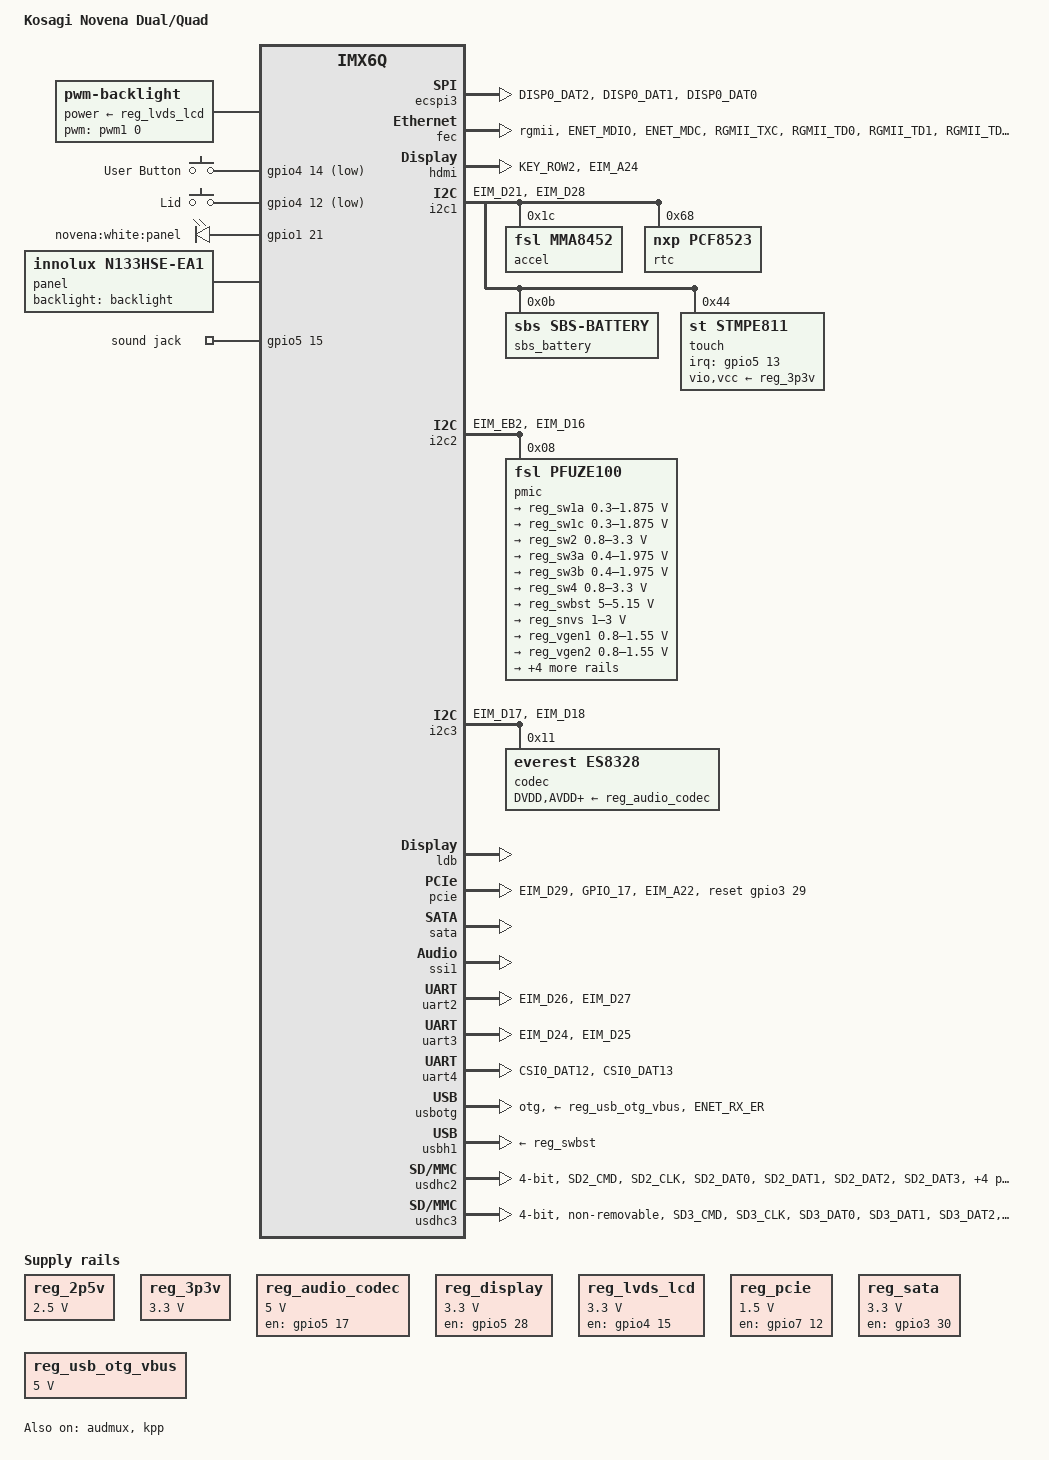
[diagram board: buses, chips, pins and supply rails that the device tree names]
/*
 * Copyright 2015 Sutajio Ko-Usagi PTE LTD
 *
 * This file is dual-licensed: you can use it either under the terms
 * of the GPL or the X11 license, at your option. Note that this dual
 * licensing only applies to this file, and not this project as a
 * whole.
 *
 *  a) This file is free software; you can redistribute it and/or
 *     modify it under the terms of the GNU General Public License as
 *     published by the Free Software Foundation; either version 2 of
 *     the License, or (at your option) any later version.
 *
 *     This file is distributed in the hope that it will be useful,
 *     but WITHOUT ANY WARRANTY; without even the implied warranty of
 *     MERCHANTABILITY or FITNESS FOR A PARTICULAR PURPOSE.  See the
 *     GNU General Public License for more details.
 *
 *     You should have received a copy of the GNU General Public
 *     License along with this file; if not, write to the Free
 *     Software Foundation, Inc., 51 Franklin St, Fifth Floor, Boston,
 *     MA 02110-1301 USA
 *
 * Or, alternatively,
 *
 *  b) Permission is hereby granted, free of charge, to any person
 *     obtaining a copy of this software and associated documentation
 *     files (the "Software"), to deal in the Software without
 *     restriction, including without limitation the rights to use,
 *     copy, modify, merge, publish, distribute, sublicense, and/or
 *     sell copies of the Software, and to permit persons to whom the
 *     Software is furnished to do so, subject to the following
 *     conditions:
 *
 *     The above copyright notice and this permission notice shall be
 *     included in all copies or substantial portions of the Software.
 *
 *     THE SOFTWARE IS PROVIDED "AS IS", WITHOUT WARRANTY OF ANY KIND,
 *     EXPRESS OR IMPLIED, INCLUDING BUT NOT LIMITED TO THE WARRANTIES
 *     OF MERCHANTABILITY, FITNESS FOR A PARTICULAR PURPOSE AND
 *     NONINFRINGEMENT. IN NO EVENT SHALL THE AUTHORS OR COPYRIGHT
 *     HOLDERS BE LIABLE FOR ANY CLAIM, DAMAGES OR OTHER LIABILITY,
 *     WHETHER IN AN ACTION OF CONTRACT, TORT OR OTHERWISE, ARISING
 *     FROM, OUT OF OR IN CONNECTION WITH THE SOFTWARE OR THE USE OR
 *     OTHER DEALINGS IN THE SOFTWARE.
 *
 */

/dts-v1/;
#include "imx6q.dtsi"
#include <dt-bindings/gpio/gpio.h>
#include <dt-bindings/input/input.h>

/ {
	model = "Kosagi Novena Dual/Quad";
	compatible = "kosagi,imx6q-novena", "fsl,imx6q";

	chosen {
		stdout-path = &uart2;
	};

	backlight: backlight {
		compatible = "pwm-backlight";
		pwms = <&pwm1 0 10000000>;
		pinctrl-names = "default";
		pinctrl-0 = <&pinctrl_backlight_novena>;
		power-supply = <&reg_lvds_lcd>;
		brightness-levels = <0 3 6 12 16 24 32 48 64 96 128 192 255>;
		default-brightness-level = <12>;
	};

	gpio-keys {
		compatible = "gpio-keys";
		pinctrl-names = "default";
		pinctrl-0 = <&pinctrl_gpio_keys_novena>;

		user-button {
			label = "User Button";
			gpios = <&gpio4 14 GPIO_ACTIVE_LOW>;
			linux,code = <KEY_POWER>;
		};

		lid {
			label = "Lid";
			gpios = <&gpio4 12 GPIO_ACTIVE_LOW>;
			linux,input-type = <5>;	/* EV_SW */
			linux,code = <0>;	/* SW_LID */
		};
	};

	leds {
		compatible = "gpio-leds";
		pinctrl-names = "default";
		pinctrl-0 = <&pinctrl_leds_novena>;

		heartbeat {
			label = "novena:white:panel";
			gpios = <&gpio1 21 GPIO_ACTIVE_HIGH>;
			linux,default-trigger = "default-on";
		};
	};

	panel: panel {
		compatible = "innolux,n133hse-ea1", "simple-panel";
		backlight = <&backlight>;
	};

	reg_2p5v: regulator-2p5v {
		compatible = "regulator-fixed";
		regulator-name = "2P5V";
		regulator-min-microvolt = <2500000>;
		regulator-max-microvolt = <2500000>;
		regulator-always-on;
	};

	reg_3p3v: regulator-3p3v {
		compatible = "regulator-fixed";
		regulator-name = "3P3V";
		regulator-min-microvolt = <3300000>;
		regulator-max-microvolt = <3300000>;
		regulator-always-on;
	};

	reg_audio_codec: regulator-audio-codec {
		compatible = "regulator-fixed";
		regulator-name = "es8328-power";
		regulator-boot-on;
		regulator-min-microvolt = <5000000>;
		regulator-max-microvolt = <5000000>;
		startup-delay-us = <400000>;
		gpio = <&gpio5 17 GPIO_ACTIVE_HIGH>;
		enable-active-high;
	};

	reg_display: regulator-display {
		compatible = "regulator-fixed";
		regulator-name = "lcd-display-power";
		regulator-min-microvolt = <3300000>;
		regulator-max-microvolt = <3300000>;
		startup-delay-us = <200000>;
		gpio = <&gpio5 28 GPIO_ACTIVE_HIGH>;
		enable-active-high;
	};

	reg_lvds_lcd: regulator-lvds-lcd {
		compatible = "regulator-fixed";
		regulator-name = "lcd-lvds-power";
		regulator-min-microvolt = <3300000>;
		regulator-max-microvolt = <3300000>;
		gpio = <&gpio4 15 GPIO_ACTIVE_HIGH>;
		enable-active-high;
	};

	reg_pcie: regulator-pcie {
		compatible = "regulator-fixed";
		regulator-name = "pcie-bus-power";
		regulator-min-microvolt = <1500000>;
		regulator-max-microvolt = <1500000>;
		gpio = <&gpio7 12 GPIO_ACTIVE_HIGH>;
		enable-active-high;
		regulator-always-on;
	};

	reg_sata: regulator-sata {
		compatible = "regulator-fixed";
		regulator-name = "sata-power";
		regulator-boot-on;
		regulator-min-microvolt = <3300000>;
		regulator-max-microvolt = <3300000>;
		startup-delay-us = <10000>;
		gpio = <&gpio3 30 GPIO_ACTIVE_HIGH>;
		enable-active-high;
	};

	reg_usb_otg_vbus: regulator-usb-otg-vbus {
		compatible = "regulator-fixed";
		regulator-name = "usb_otg_vbus";
		regulator-min-microvolt = <5000000>;
		regulator-max-microvolt = <5000000>;
		enable-active-high;
	};

	sound {
		compatible = "fsl,imx-audio-es8328";
		model = "imx-audio-es8328";
		ssi-controller = <&ssi1>;
		audio-codec = <&codec>;
		audio-amp-supply = <&reg_audio_codec>;
		jack-gpio = <&gpio5 15 GPIO_ACTIVE_HIGH>;
		audio-routing =
			"Speaker", "LOUT2",
			"Speaker", "ROUT2",
			"Speaker", "audio-amp",
			"Headphone", "ROUT1",
			"Headphone", "LOUT1",
			"LINPUT1", "Mic Jack",
			"RINPUT1", "Mic Jack",
			"Mic Jack", "Mic Bias";
		mux-int-port = <0x1>;
		mux-ext-port = <0x3>;
	};
};

&audmux {
	pinctrl-names = "default";
	pinctrl-0 = <&pinctrl_audmux_novena>;
	status = "okay";
};

&ecspi3 {
	pinctrl-names = "default";
	pinctrl-0 = <&pinctrl_ecspi3_novena>;
	fsl,spi-num-chipselects = <3>;
	status = "okay";
};

&fec {
	pinctrl-names = "default";
	pinctrl-0 = <&pinctrl_enet_novena>;
	phy-mode = "rgmii";
	phy-reset-gpios = <&gpio3 23 GPIO_ACTIVE_HIGH>;
	rxc-skew-ps = <3000>;
	rxdv-skew-ps = <0>;
	txc-skew-ps = <3000>;
	txen-skew-ps = <0>;
	rxd0-skew-ps = <0>;
	rxd1-skew-ps = <0>;
	rxd2-skew-ps = <0>;
	rxd3-skew-ps = <0>;
	txd0-skew-ps = <3000>;
	txd1-skew-ps = <3000>;
	txd2-skew-ps = <3000>;
	txd3-skew-ps = <3000>;
	status = "okay";
};

&hdmi {
	pinctrl-names = "default";
	pinctrl-0 = <&pinctrl_hdmi_novena>;
	ddc-i2c-bus = <&i2c2>;
	status = "okay";
};

&i2c1 {
	pinctrl-names = "default";
	pinctrl-0 = <&pinctrl_i2c1_novena>;
	status = "okay";

	accel: mma8452@1c {
		compatible = "fsl,mma8452";
		reg = <0x1c>;
	};

	rtc: pcf8523@68 {
		compatible = "nxp,pcf8523";
		reg = <0x68>;
	};

	sbs_battery: bq20z75@0b {
		compatible = "sbs,sbs-battery";
		reg = <0x0b>;
		sbs,i2c-retry-count = <50>;
	};

	touch: stmpe811@44 {
		compatible = "st,stmpe811";
		reg = <0x44>;
		#address-cells = <1>;
		#size-cells = <0>;
		irq-gpio = <&gpio5 13 GPIO_ACTIVE_HIGH>;
		id = <0>;
		blocks = <0x5>;
		irq-trigger = <0x1>;
		pinctrl-names = "default";
		pinctrl-0 = <&pinctrl_stmpe_novena>;
		vio-supply = <&reg_3p3v>;
		vcc-supply = <&reg_3p3v>;

		stmpe_touchscreen {
			compatible = "st,stmpe-ts";
			st,sample-time = <4>;
			st,mod-12b = <1>;
			st,ref-sel = <0>;
			st,adc-freq = <1>;
			st,ave-ctrl = <1>;
			st,touch-det-delay = <2>;
			st,settling = <2>;
			st,fraction-z = <7>;
			st,i-drive = <1>;
		};
	};
};

&i2c2 {
	pinctrl-names = "default";
	pinctrl-0 = <&pinctrl_i2c2_novena>;
	status = "okay";

	pmic: pfuze100@08 {
		compatible = "fsl,pfuze100";
		reg = <0x08>;

		regulators {
			reg_sw1a: sw1a {
				regulator-min-microvolt = <300000>;
				regulator-max-microvolt = <1875000>;
				regulator-boot-on;
				regulator-always-on;
				regulator-ramp-delay = <6250>;
			};

			reg_sw1c: sw1c {
				regulator-min-microvolt = <300000>;
				regulator-max-microvolt = <1875000>;
				regulator-boot-on;
				regulator-always-on;
			};

			reg_sw2: sw2 {
				regulator-min-microvolt = <800000>;
				regulator-max-microvolt = <3300000>;
				regulator-boot-on;
				regulator-always-on;
			};

			reg_sw3a: sw3a {
				regulator-min-microvolt = <400000>;
				regulator-max-microvolt = <1975000>;
				regulator-boot-on;
				regulator-always-on;
			};

			reg_sw3b: sw3b {
				regulator-min-microvolt = <400000>;
				regulator-max-microvolt = <1975000>;
				regulator-boot-on;
				regulator-always-on;
			};

			reg_sw4: sw4 {
				regulator-min-microvolt = <800000>;
				regulator-max-microvolt = <3300000>;
			};

			reg_swbst: swbst {
				regulator-min-microvolt = <5000000>;
				regulator-max-microvolt = <5150000>;
				regulator-boot-on;
			};

			reg_snvs: vsnvs {
				regulator-min-microvolt = <1000000>;
				regulator-max-microvolt = <3000000>;
				regulator-boot-on;
				regulator-always-on;
			};

			reg_vref: vrefddr {
				regulator-boot-on;
				regulator-always-on;
			};

			reg_vgen1: vgen1 {
				regulator-min-microvolt = <800000>;
				regulator-max-microvolt = <1550000>;
			};

			reg_vgen2: vgen2 {
				regulator-min-microvolt = <800000>;
				regulator-max-microvolt = <1550000>;
			};

			reg_vgen3: vgen3 {
				regulator-min-microvolt = <1800000>;
				regulator-max-microvolt = <3300000>;
			};

			reg_vgen4: vgen4 {
				regulator-min-microvolt = <1800000>;
				regulator-max-microvolt = <3300000>;
				regulator-always-on;
			};

			reg_vgen5: vgen5 {
				regulator-min-microvolt = <1800000>;
				regulator-max-microvolt = <3300000>;
				regulator-always-on;
			};

			reg_vgen6: vgen6 {
				regulator-min-microvolt = <1800000>;
				regulator-max-microvolt = <3300000>;
				regulator-always-on;
			};
		};
	};
};

&i2c3 {
	pinctrl-names = "default";
	pinctrl-0 = <&pinctrl_i2c3_novena>;
	status = "okay";

	codec: es8328@11 {
		compatible = "everest,es8328";
		reg = <0x11>;
		DVDD-supply = <&reg_audio_codec>;
		AVDD-supply = <&reg_audio_codec>;
		PVDD-supply = <&reg_audio_codec>;
		HPVDD-supply = <&reg_audio_codec>;
		pinctrl-names = "default";
		pinctrl-0 = <&pinctrl_sound_novena>;
		clocks = <&clks IMX6QDL_CLK_CKO1>;
		assigned-clocks = <&clks IMX6QDL_CLK_CKO>,
				  <&clks IMX6QDL_CLK_CKO1_SEL>,
				  <&clks IMX6QDL_CLK_PLL4_AUDIO>,
				  <&clks IMX6QDL_CLK_CKO1>;
		assigned-clock-parents = <&clks IMX6QDL_CLK_CKO1>,
					 <&clks IMX6QDL_CLK_PLL4_AUDIO_DIV>,
					 <&clks IMX6QDL_CLK_OSC>,
					 <&clks IMX6QDL_CLK_CKO1_PODF>;
		assigned-clock-rates = <0 0 722534400 22579200>;
	};
};

&kpp {
	pinctrl-names = "default";
	pinctrl-0 = <&pinctrl_kpp_novena>;
	linux,keymap = <
		MATRIX_KEY(1, 1, KEY_CONFIG)
	>;
	status = "okay";
};

&ldb {
	fsl,dual-channel;
	status = "okay";

	lvds-channel@0 {
		fsl,data-mapping = "jeida";
		fsl,data-width = <24>;
		fsl,panel = <&panel>;
		status = "okay";
	};
};

&pcie {
	pinctrl-names = "default";
	pinctrl-0 = <&pinctrl_pcie_novena>;
	reset-gpio = <&gpio3 29 GPIO_ACTIVE_HIGH>;
	status = "okay";
};

&sata {
	target-supply = <&reg_sata>;
	fsl,transmit-level-mV = <1025>;
	fsl,transmit-boost-mdB = <0>;
	fsl,transmit-atten-16ths = <8>;
	status = "okay";
};

&ssi1 {
	status = "okay";
};

&uart2 {
	pinctrl-names = "default";
	pinctrl-0 = <&pinctrl_uart2_novena>;
	status = "okay";
};

&uart3 {
	pinctrl-names = "default";
	pinctrl-0 = <&pinctrl_uart3_novena>;
	status = "okay";
};

&uart4 {
	pinctrl-names = "default";
	pinctrl-0 = <&pinctrl_uart4_novena>;
	status = "okay";
};

&usbotg {
	vbus-supply = <&reg_usb_otg_vbus>;
	dr_mode = "otg";
	pinctrl-names = "default";
	pinctrl-0 = <&pinctrl_usbotg_novena>;
	disable-over-current;
	status = "okay";
};

&usbh1 {
	vbus-supply = <&reg_swbst>;
	status = "okay";
};

&usdhc2 {
	pinctrl-names = "default";
	pinctrl-0 = <&pinctrl_usdhc2_novena>;
	cd-gpios = <&gpio1 4 GPIO_ACTIVE_LOW>;
	wp-gpios = <&gpio1 2 GPIO_ACTIVE_LOW>;
	bus-width = <4>;
	status = "okay";
};

&usdhc3 {
	pinctrl-names = "default";
	pinctrl-0 = <&pinctrl_usdhc3_novena>;
	bus-width = <4>;
	non-removable;
	status = "okay";
};

&iomuxc {
	pinctrl_audmux_novena: audmuxgrp-novena {
		fsl,pins = <
			MX6QDL_PAD_CSI0_DAT7__AUD3_RXD		0x130b0
			MX6QDL_PAD_CSI0_DAT4__AUD3_TXC		0x130b0
			MX6QDL_PAD_CSI0_DAT5__AUD3_TXD		0x110b0
			MX6QDL_PAD_CSI0_DAT6__AUD3_TXFS		0x130b0
		>;
	};

	pinctrl_backlight_novena: backlightgrp-novena {
		fsl,pins = <
			MX6QDL_PAD_DISP0_DAT8__PWM1_OUT		0x1b0b0
			MX6QDL_PAD_CSI0_DAT10__GPIO5_IO28	0x1b0b1
			MX6QDL_PAD_KEY_ROW4__GPIO4_IO15		0x1b0b1
		>;
	};

	pinctrl_ecspi3_novena: ecspi3grp-novena {
		fsl,pins = <
			MX6QDL_PAD_DISP0_DAT2__ECSPI3_MISO	0x100b1
			MX6QDL_PAD_DISP0_DAT1__ECSPI3_MOSI	0x100b1
			MX6QDL_PAD_DISP0_DAT0__ECSPI3_SCLK	0x100b1
		>;
	};

	pinctrl_enet_novena: enetgrp-novena {
		fsl,pins = <
			MX6QDL_PAD_ENET_MDIO__ENET_MDIO		0x1b0b0
			MX6QDL_PAD_ENET_MDC__ENET_MDC		0x1b0b0
			MX6QDL_PAD_RGMII_TXC__RGMII_TXC		0x1b020
			MX6QDL_PAD_RGMII_TD0__RGMII_TD0		0x1b028
			MX6QDL_PAD_RGMII_TD1__RGMII_TD1		0x1b028
			MX6QDL_PAD_RGMII_TD2__RGMII_TD2		0x1b028
			MX6QDL_PAD_RGMII_TD3__RGMII_TD3		0x1b028
			MX6QDL_PAD_RGMII_TX_CTL__RGMII_TX_CTL	0x1b028
			MX6QDL_PAD_ENET_REF_CLK__ENET_TX_CLK	0x1b0b0
			MX6QDL_PAD_RGMII_RXC__RGMII_RXC		0x1b030
			MX6QDL_PAD_RGMII_RD0__RGMII_RD0		0x1b030
			MX6QDL_PAD_RGMII_RD1__RGMII_RD1		0x1b030
			MX6QDL_PAD_RGMII_RD2__RGMII_RD2		0x1b030
			MX6QDL_PAD_RGMII_RD3__RGMII_RD3		0x1b030
			MX6QDL_PAD_RGMII_RX_CTL__RGMII_RX_CTL	0x1b030
			MX6QDL_PAD_GPIO_16__ENET_REF_CLK	0x4001b0a8
			/* Ethernet reset */
			MX6QDL_PAD_EIM_D23__GPIO3_IO23		0x1b0b1
		>;
	};

	pinctrl_fpga_gpio: fpgagpiogrp-novena {
		fsl,pins = <
			/* FPGA power */
			MX6QDL_PAD_SD1_DAT1__GPIO1_IO17		0x1b0b1
			/* Reset */
			MX6QDL_PAD_DISP0_DAT13__GPIO5_IO07	0x1b0b1
			/* FPGA GPIOs */
			MX6QDL_PAD_EIM_DA0__GPIO3_IO00		0x1b0b1
			MX6QDL_PAD_EIM_DA1__GPIO3_IO01		0x1b0b1
			MX6QDL_PAD_EIM_DA2__GPIO3_IO02		0x1b0b1
			MX6QDL_PAD_EIM_DA3__GPIO3_IO03		0x1b0b1
			MX6QDL_PAD_EIM_DA4__GPIO3_IO04		0x1b0b1
			MX6QDL_PAD_EIM_DA5__GPIO3_IO05		0x1b0b1
			MX6QDL_PAD_EIM_DA6__GPIO3_IO06		0x1b0b1
			MX6QDL_PAD_EIM_DA7__GPIO3_IO07		0x1b0b1
			MX6QDL_PAD_EIM_DA8__GPIO3_IO08		0x1b0b1
			MX6QDL_PAD_EIM_DA9__GPIO3_IO09		0x1b0b1
			MX6QDL_PAD_EIM_DA10__GPIO3_IO10		0x1b0b1
			MX6QDL_PAD_EIM_DA11__GPIO3_IO11		0x1b0b1
			MX6QDL_PAD_EIM_DA12__GPIO3_IO12		0x1b0b1
			MX6QDL_PAD_EIM_DA13__GPIO3_IO13		0x1b0b1
			MX6QDL_PAD_EIM_DA14__GPIO3_IO14		0x1b0b1
			MX6QDL_PAD_EIM_DA15__GPIO3_IO15		0x1b0b1
			MX6QDL_PAD_EIM_A16__GPIO2_IO22		0x1b0b1
			MX6QDL_PAD_EIM_A17__GPIO2_IO21		0x1b0b1
			MX6QDL_PAD_EIM_A18__GPIO2_IO20		0x1b0b1
			MX6QDL_PAD_EIM_CS0__GPIO2_IO23		0x1b0b1
			MX6QDL_PAD_EIM_CS1__GPIO2_IO24		0x1b0b1
			MX6QDL_PAD_EIM_LBA__GPIO2_IO27		0x1b0b1
			MX6QDL_PAD_EIM_OE__GPIO2_IO25		0x1b0b1
			MX6QDL_PAD_EIM_RW__GPIO2_IO26		0x1b0b1
			MX6QDL_PAD_EIM_WAIT__GPIO5_IO00		0x1b0b1
			MX6QDL_PAD_EIM_BCLK__GPIO6_IO31		0x1b0b1
		>;
	};

	pinctrl_fpga_eim: fpgaeimgrp-novena {
		fsl,pins = <
			/* FPGA power */
			MX6QDL_PAD_SD1_DAT1__GPIO1_IO17		0x1b0b1
			/* Reset */
			MX6QDL_PAD_DISP0_DAT13__GPIO5_IO07	0x1b0b1
			/* FPGA GPIOs */
			MX6QDL_PAD_EIM_DA0__EIM_AD00		0xb0f1
			MX6QDL_PAD_EIM_DA1__EIM_AD01		0xb0f1
			MX6QDL_PAD_EIM_DA2__EIM_AD02		0xb0f1
			MX6QDL_PAD_EIM_DA3__EIM_AD03		0xb0f1
			MX6QDL_PAD_EIM_DA4__EIM_AD04		0xb0f1
			MX6QDL_PAD_EIM_DA5__EIM_AD05		0xb0f1
			MX6QDL_PAD_EIM_DA6__EIM_AD06		0xb0f1
			MX6QDL_PAD_EIM_DA7__EIM_AD07		0xb0f1
			MX6QDL_PAD_EIM_DA8__EIM_AD08		0xb0f1
			MX6QDL_PAD_EIM_DA9__EIM_AD09		0xb0f1
			MX6QDL_PAD_EIM_DA10__EIM_AD10		0xb0f1
			MX6QDL_PAD_EIM_DA11__EIM_AD11		0xb0f1
			MX6QDL_PAD_EIM_DA12__EIM_AD12		0xb0f1
			MX6QDL_PAD_EIM_DA13__EIM_AD13		0xb0f1
			MX6QDL_PAD_EIM_DA14__EIM_AD14		0xb0f1
			MX6QDL_PAD_EIM_DA15__EIM_AD15		0xb0f1
			MX6QDL_PAD_EIM_A16__EIM_ADDR16		0xb0f1
			MX6QDL_PAD_EIM_A17__EIM_ADDR17		0xb0f1
			MX6QDL_PAD_EIM_A18__EIM_ADDR18		0xb0f1
			MX6QDL_PAD_EIM_CS0__EIM_CS0_B		0xb0f1
			MX6QDL_PAD_EIM_CS1__EIM_CS1_B		0xb0f1
			MX6QDL_PAD_EIM_LBA__EIM_LBA_B		0xb0f1
			MX6QDL_PAD_EIM_OE__EIM_OE_B		0xb0f1
			MX6QDL_PAD_EIM_RW__EIM_RW		0xb0f1
			MX6QDL_PAD_EIM_WAIT__EIM_WAIT_B		0xb0f1
			MX6QDL_PAD_EIM_BCLK__EIM_BCLK		0xb0f1
		>;
	};

	pinctrl_gpio_keys_novena: gpiokeysgrp-novena {
		fsl,pins = <
			/* User button */
			MX6QDL_PAD_KEY_COL4__GPIO4_IO14		0x1b0b0
			/* PCIe Wakeup */
			MX6QDL_PAD_EIM_D22__GPIO3_IO22		0x1f0e0
			/* Lid switch */
			MX6QDL_PAD_KEY_COL3__GPIO4_IO12		0x1b0b0
		>;
	};

	pinctrl_hdmi_novena: hdmigrp-novena {
		fsl,pins = <
			MX6QDL_PAD_KEY_ROW2__HDMI_TX_CEC_LINE	0x1f8b0
			MX6QDL_PAD_EIM_A24__GPIO5_IO04		0x1b0b1
		>;
	};

	pinctrl_i2c1_novena: i2c1grp-novena {
		fsl,pins = <
			MX6QDL_PAD_EIM_D21__I2C1_SCL		0x4001b8b1
			MX6QDL_PAD_EIM_D28__I2C1_SDA		0x4001b8b1
		>;
	};

	pinctrl_i2c2_novena: i2c2grp-novena {
		fsl,pins = <
			MX6QDL_PAD_EIM_EB2__I2C2_SCL		0x4001b8b1
			MX6QDL_PAD_EIM_D16__I2C2_SDA		0x4001b8b1
		>;
	};

	pinctrl_i2c3_novena: i2c3grp-novena {
		fsl,pins = <
			MX6QDL_PAD_EIM_D17__I2C3_SCL		0x4001b8b1
			MX6QDL_PAD_EIM_D18__I2C3_SDA		0x4001b8b1
		>;
	};

	pinctrl_kpp_novena: kppgrp-novena {
		fsl,pins = <
			/* Front panel button */
			MX6QDL_PAD_KEY_ROW1__KEY_ROW1		0x1b0b1
			/* Fake column driver, not connected */
			MX6QDL_PAD_KEY_COL1__KEY_COL1		0x1b0b1
		>;
	};

	pinctrl_leds_novena: ledsgrp-novena {
		fsl,pins = <
			MX6QDL_PAD_SD1_DAT3__GPIO1_IO21		0x1b0b1
		>;
	};

	pinctrl_pcie_novena: pciegrp-novena {
		fsl,pins = <
			/* Reset */
			MX6QDL_PAD_EIM_D29__GPIO3_IO29		0x1b0b1
			/* Power On */
			MX6QDL_PAD_GPIO_17__GPIO7_IO12		0x1b0b1
			/* Wifi kill */
			MX6QDL_PAD_EIM_A22__GPIO2_IO16		0x1b0b1
		>;
	};

	pinctrl_sata_novena: satagrp-novena {
		fsl,pins = <
			MX6QDL_PAD_EIM_D30__GPIO3_IO30		0x1b0b1
		>;
	};

	pinctrl_senoko_novena: senokogrp-novena {
		fsl,pins = <
			/* Senoko IRQ line */
			MX6QDL_PAD_SD1_CLK__GPIO1_IO20		0x13048
			/* Senoko reset line */
			MX6QDL_PAD_CSI0_VSYNC__GPIO5_IO21	0x1b0b1
		>;
	};

	pinctrl_sound_novena: soundgrp-novena {
		fsl,pins = <
			/* Audio power regulator */
			MX6QDL_PAD_DISP0_DAT23__GPIO5_IO17	0x1b0b1
			/* Headphone plug */
			MX6QDL_PAD_DISP0_DAT21__GPIO5_IO15	0x1b0b1
			MX6QDL_PAD_GPIO_0__CCM_CLKO1		0x000b0
		>;
	};

	pinctrl_stmpe_novena: stmpegrp-novena {
		fsl,pins = <
			/* Touchscreen interrupt */
			MX6QDL_PAD_DISP0_DAT19__GPIO5_IO13	0x1b0b1
		>;
	};

	pinctrl_uart2_novena: uart2grp-novena {
		fsl,pins = <
			MX6QDL_PAD_EIM_D26__UART2_TX_DATA	0x1b0b1
			MX6QDL_PAD_EIM_D27__UART2_RX_DATA	0x1b0b1
		>;
	};

	pinctrl_uart3_novena: uart3grp-novena {
		fsl,pins = <
			MX6QDL_PAD_EIM_D24__UART3_TX_DATA	0x1b0b1
			MX6QDL_PAD_EIM_D25__UART3_RX_DATA	0x1b0b1
		>;
	};

	pinctrl_uart4_novena: uart4grp-novena {
		fsl,pins = <
			MX6QDL_PAD_CSI0_DAT12__UART4_TX_DATA	0x1b0b1
			MX6QDL_PAD_CSI0_DAT13__UART4_RX_DATA	0x1b0b1
		>;
	};

	pinctrl_usbotg_novena: usbotggrp-novena {
		fsl,pins = <
			MX6QDL_PAD_ENET_RX_ER__USB_OTG_ID	0x17059
		>;
	};

	pinctrl_usdhc2_novena: usdhc2grp-novena {
		fsl,pins = <
			MX6QDL_PAD_SD2_CMD__SD2_CMD		0x170f9
			MX6QDL_PAD_SD2_CLK__SD2_CLK		0x100f9
			MX6QDL_PAD_SD2_DAT0__SD2_DATA0		0x170f9
			MX6QDL_PAD_SD2_DAT1__SD2_DATA1		0x170f9
			MX6QDL_PAD_SD2_DAT2__SD2_DATA2		0x170f9
			MX6QDL_PAD_SD2_DAT3__SD2_DATA3		0x170f9
			/* Write protect */
			MX6QDL_PAD_GPIO_2__GPIO1_IO02		0x1b0b1
			/* Card detect */
			MX6QDL_PAD_GPIO_4__GPIO1_IO04		0x1b0b1
		>;
	};

	pinctrl_usdhc3_novena: usdhc3grp-novena {
		fsl,pins = <
			MX6QDL_PAD_SD3_CMD__SD3_CMD		0x170f9
			MX6QDL_PAD_SD3_CLK__SD3_CLK		0x100f9
			MX6QDL_PAD_SD3_DAT0__SD3_DATA0		0x170f9
			MX6QDL_PAD_SD3_DAT1__SD3_DATA1		0x170f9
			MX6QDL_PAD_SD3_DAT2__SD3_DATA2		0x170f9
			MX6QDL_PAD_SD3_DAT3__SD3_DATA3		0x170f9
		>;
	};
};
